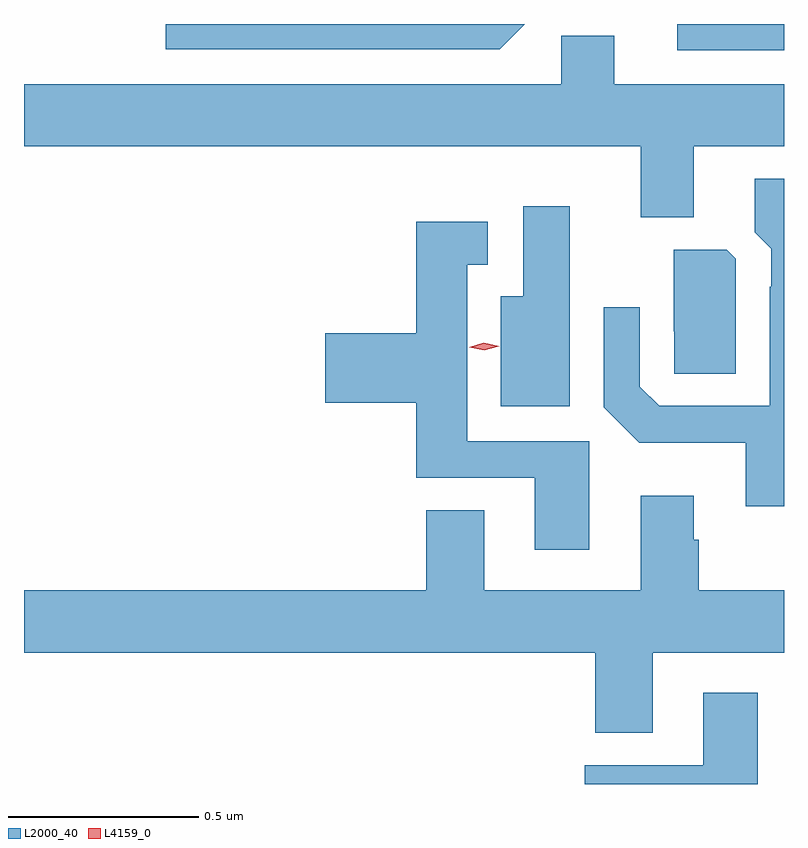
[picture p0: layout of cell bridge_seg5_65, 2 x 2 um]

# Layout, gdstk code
import gdstk
lib = gdstk.Library(unit=1e-6, precision=1e-09)
def R(c, l, rs):  # rectangles x0, y0, x1, y1
    for r in rs: c.add(gdstk.rectangle(r[:2], r[2:], *l))
def P(c, l, *ps):  # polygons
    for p in ps: c.add(gdstk.Polygon(p, *l))
L2000_40 = (2000, 40)
L4159_0 = (4159, 0)

bridge_seg5_65 = lib.new_cell('bridge_seg5_65')
R(bridge_seg5_65, L2000_40, [(266.159,907.629,266.44,907.698)])
P(bridge_seg5_65, L2000_40, [(265.758,907.698),(264.813,907.698),(264.813,907.632),(265.692,907.632)],
  [(266.203,907.376),(266.44,907.376),(266.44,907.54),(265.993,907.54),(265.993,907.667),(265.854,907.667),(265.854,907.54),(264.44,907.54),(264.44,907.376),(266.063,907.376),(266.063,907.189),(266.203,907.189)],
  [(266.44,907.291),(266.363,907.291),(266.363,907.15),(266.406,907.107),(266.406,907.007),(266.403,907.007),(266.403,906.693),(266.112,906.693),(266.061,906.744),(266.061,906.952),(265.965,906.952),(265.965,906.69),(266.059,906.596),(266.339,906.596),(266.339,906.429),(266.44,906.429)],
  [(265.876,907.219),(265.754,907.219),(265.754,906.982),(265.694,906.982),(265.694,906.692),(265.876,906.692)],
  [(265.927,906.6),(265.606,906.6),(265.606,907.064),(265.66,907.064),(265.66,907.177),(265.472,907.177),(265.472,906.884),(265.233,906.884),(265.233,906.701),(265.472,906.701),(265.472,906.504),(265.784,906.504),(265.784,906.315),(265.927,906.315)],
  [(266.313,907.08),(266.289,907.104),(266.15,907.104),(266.15,906.889),(266.151,906.889),(266.151,906.778),(266.313,906.778)],
  [(266.095,906.044),(266.44,906.044),(266.44,906.208),(266.216,906.208),(266.216,906.341),(266.203,906.341),(266.203,906.457),(266.063,906.457),(266.063,906.208),(265.651,906.208),(265.651,906.419),(265.499,906.419),(265.499,906.208),(264.44,906.208),(264.44,906.044),(265.943,906.044),(265.943,905.833),(266.095,905.833)],
  [(266.371,905.938),(266.228,905.938),(266.228,905.748),(265.916,905.748),(265.916,905.698),(266.371,905.698)])
P(bridge_seg5_65, L4159_0, [(265.651,906.839),(265.612,906.848),(265.611,906.848),(265.612,906.848),(265.65,906.859),(265.69,906.85),(265.69,906.85),(265.69,906.85)])

lib.write_gds('bridge_seg5_65.gds')
